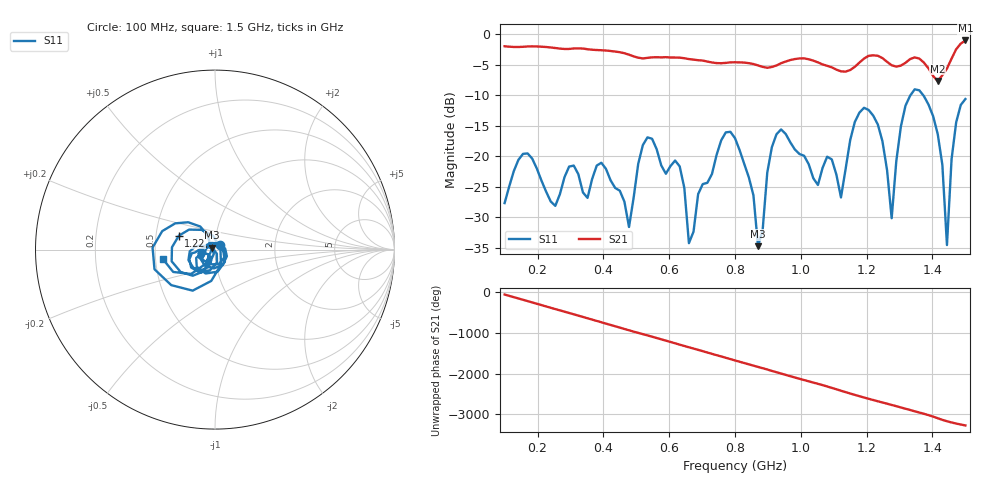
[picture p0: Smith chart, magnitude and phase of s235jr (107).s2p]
! NanoVNA-App
! Date: 2025-09-26 09:45:37
! Start: 100MHz Stop: 1,5GHz Points: 101
! S-Parameter data: F S11 S21 S12 S22
# Hz S RI R 50
!  Frequency  S11_Real  S11_Imag  S21_Real  S21_Imag  S12_Real  S12_Imag  S22_Real  S22_Imag
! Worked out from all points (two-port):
!   101 points, 100 MHz to 1.5 GHz, reference 50 ohm
!   highest |S21| = -1.00 dB at 1.5 GHz (marker M1); lowest = -7.7 dB at 1.416 GHz (marker M2)
!   |S21| within 3 dB of the highest: start of sweep to 655 MHz; 1.191 GHz to 1.251 GHz (59.11 MHz wide, 4.84 % of centre)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
!   lowest |S11| = -34.7 dB at 870 MHz (marker M3), VSWR 1.04, Z = 48.5 + j1.01 ohm
!   |S11| at or under -10 dB: start of sweep to 1.333 GHz; 1.372 GHz to end of sweep
!   S12 and S22 are empty: the file has one direction only
!   S11 on the Smith chart (normalised r, x): 100 MHz: 1.06, +0.06; 1.22 GHz: 0.66, +0.11; 1.5 GHz: 0.55, -0.06
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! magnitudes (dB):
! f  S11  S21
! 100 MHz  -27.6  -2.0
! 156 MHz  -19.6  -2.0
! 338 MHz  -25.9  -2.3
! 394 MHz  -21.0  -2.6
! 478 MHz  -31.6  -3.3
! 520 MHz  -18.2  -3.9
! 576 MHz  -21.5  -3.8
! 632 MHz  -21.6  -3.8
! 660 MHz  -34.2  -4.1
! 800 MHz  -17.0  -4.6
! 870 MHz  -34.7  -5.1
! 926 MHz  -16.4  -5.1
! 1.038 GHz  -23.6  -4.3
! 1.122 GHz  -26.7  -6.1
! 1.164 GHz  -14.4  -5.3
! 1.22 GHz  -13.3  -3.4
! 1.276 GHz  -30.1  -5.1
! 1.332 GHz  -10.1  -4.0
! 1.416 GHz  -16.3  -7.7
! 1.444 GHz  -34.5  -5.6
! 1.472 GHz  -14.4  -2.4
! 1.5 GHz  -10.6  -1.0
